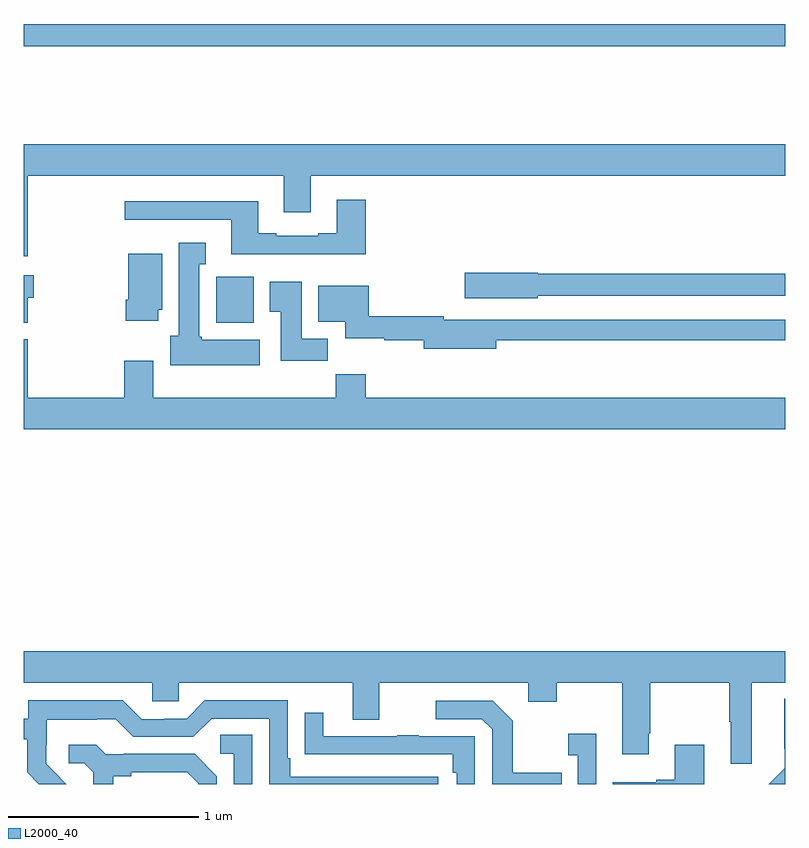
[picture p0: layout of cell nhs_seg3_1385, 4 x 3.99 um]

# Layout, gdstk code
import gdstk
lib = gdstk.Library(unit=1e-6, precision=1e-09)
def R(c, l, rs):  # rectangles x0, y0, x1, y1
    for r in rs: c.add(gdstk.rectangle(r[:2], r[2:], *l))
def P(c, l, *ps):  # polygons
    for p in ps: c.add(gdstk.Polygon(p, *l))
L2000_40 = (2000, 40)

nhs_seg3_1385 = lib.new_cell('nhs_seg3_1385')
R(nhs_seg3_1385, L2000_40, [(184.01,686.822,184.207,687.064), (183,688.276,187,688.392)])
P(nhs_seg3_1385, L2000_40, [(183.02,687.596),(184.367,687.596),(184.367,687.402),(184.507,687.402),(184.507,687.596),(187,687.596),(187,687.76),(183,687.76),(183,687.171),(183.02,687.171)],
  [(184.796,687.469),(184.643,687.469),(184.643,687.292),(184.547,687.292),(184.547,687.279),(184.327,687.279),(184.327,687.292),(184.231,687.292),(184.231,687.46),(183.531,687.46),(183.531,687.363),(184.091,687.363),(184.091,687.182),(184.796,687.182)],
  [(184.24,686.734),(183.936,686.734),(183.936,686.748),(183.922,686.748),(183.922,687.131),(183.955,687.131),(183.955,687.244),(183.815,687.244),(183.815,686.754),(183.77,686.754),(183.77,686.6),(184.24,686.6)],
  [(183.706,686.892),(183.727,686.892),(183.727,687.184),(183.548,687.184),(183.548,686.944),(183.536,686.944),(183.536,686.832),(183.706,686.832)],
  [(185.7,686.964),(187,686.964),(187,687.08),(185.7,687.08),(185.7,687.086),(185.316,687.086),(185.316,686.951),(185.7,686.951)],
  [(183.022,686.955),(183.053,686.955),(183.053,687.073),(183,687.073),(183,686.822),(183.022,686.822)],
  [(184.598,686.74),(184.459,686.74),(184.459,687.037),(184.292,687.037),(184.292,686.881),(184.349,686.881),(184.349,686.622),(184.598,686.622)],
  [(185.482,686.73),(187,686.73),(187,686.838),(185.206,686.838),(185.206,686.858),(184.811,686.858),(184.811,687.016),(184.547,687.016),(184.547,686.828),(184.688,686.828),(184.688,686.741),(184.894,686.741),(184.894,686.73),(185.102,686.73),(185.102,686.687),(185.482,686.687)],
  [(187,686.428),(184.796,686.428),(184.796,686.552),(184.639,686.552),(184.639,686.428),(183.679,686.428),(183.679,686.623),(183.527,686.623),(183.527,686.428),(183.02,686.428),(183.02,686.737),(183,686.737),(183,686.264),(187,686.264)],
  [(186.823,684.932),(187,684.932),(187,685.096),(183,685.096),(183,684.932),(183.675,684.932),(183.675,684.834),(183.813,684.834),(183.813,684.932),(184.727,684.932),(184.727,684.738),(184.867,684.738),(184.867,684.932),(185.651,684.932),(185.651,684.833),(185.799,684.833),(185.799,684.932),(186.143,684.932),(186.143,684.555),(186.283,684.555),(186.283,684.667),(186.291,684.667),(186.291,684.932),(186.706,684.932),(186.706,684.728),(186.713,684.728),(186.713,684.507),(186.823,684.507)],
  [(187,684.847),(186.995,684.847),(186.995,684.586),(186.996,684.586),(186.996,684.484),(186.912,684.4),(187,684.4)],
  [(183.191,684.431),(183.192,684.432),(183.118,684.506),(183.118,684.603),(183.12,684.603),(183.12,684.737),(183.383,684.737),(183.383,684.741),(183.483,684.741),(183.576,684.648),(183.891,684.648),(183.987,684.744),(184.29,684.744),(184.29,684.4),(185.176,684.4),(185.176,684.438),(184.399,684.438),(184.399,684.535),(184.386,684.535),(184.386,684.84),(183.951,684.84),(183.855,684.744),(183.737,684.744),(183.737,684.741),(183.621,684.741),(183.521,684.841),(183.024,684.841),(183.024,684.744),(183,684.744),(183,684.636),(183.019,684.636),(183.019,684.461),(183.08,684.4),(183.222,684.4)],
  [(185.825,684.459),(185.569,684.459),(185.569,684.731),(185.463,684.837),(185.163,684.837),(185.163,684.741),(185.406,684.741),(185.46,684.687),(185.46,684.4),(185.825,684.4)],
  [(185.37,684.651),(185.075,684.651),(185.075,684.656),(184.963,684.656),(184.963,684.651),(184.573,684.651),(184.573,684.775),(184.477,684.775),(184.477,684.556),(184.579,684.556),(184.579,684.555),(185.254,684.555),(185.254,684.458),(185.274,684.458),(185.274,684.4),(185.37,684.4)],
  [(186.006,684.664),(185.859,684.664),(185.859,684.551),(185.91,684.551),(185.91,684.4),(186.006,684.4)],
  [(184.2,684.659),(184.032,684.659),(184.032,684.558),(184.104,684.558),(184.104,684.4),(184.2,684.4)],
  [(186.574,684.607),(186.419,684.607),(186.419,684.422),(186.323,684.422),(186.323,684.409),(186.093,684.409),(186.093,684.4),(186.574,684.4)],
  [(183.469,684.44),(183.565,684.44),(183.565,684.462),(183.86,684.462),(183.917,684.405),(183.917,684.4),(184.014,684.4),(184.014,684.442),(183.898,684.558),(183.526,684.558),(183.526,684.555),(183.432,684.555),(183.38,684.607),(183.237,684.607),(183.237,684.51),(183.318,684.51),(183.365,684.463),(183.365,684.4),(183.469,684.4)])

lib.write_gds('nhs_seg3_1385.gds')
